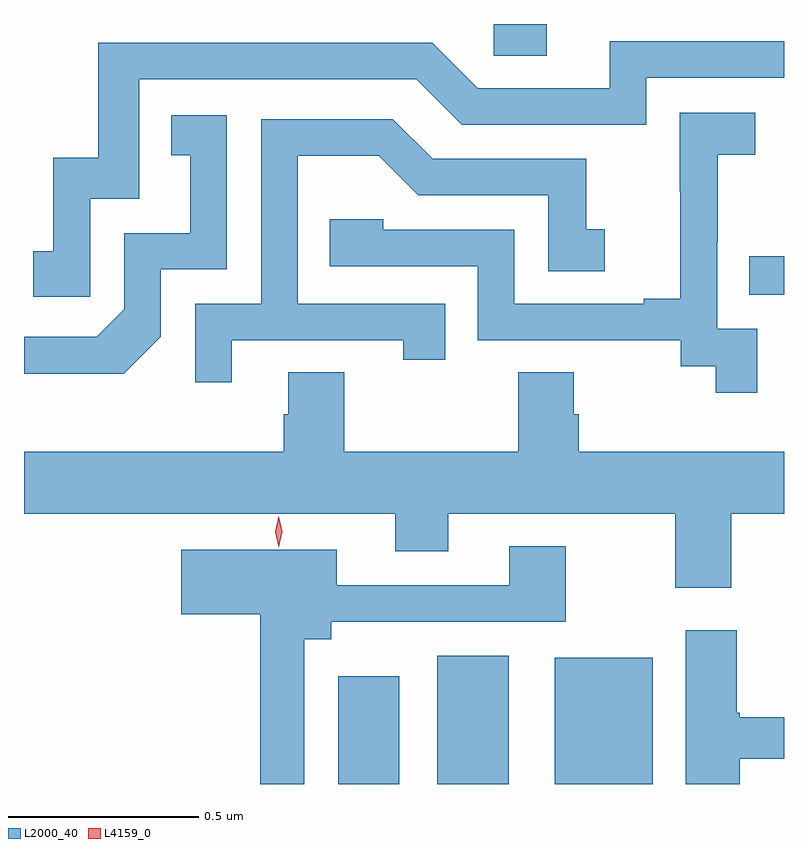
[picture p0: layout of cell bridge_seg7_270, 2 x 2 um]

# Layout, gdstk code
import gdstk
lib = gdstk.Library(unit=1e-6, precision=1e-09)
def R(c, l, rs):  # rectangles x0, y0, x1, y1
    for r in rs: c.add(gdstk.rectangle(r[:2], r[2:], *l))
def P(c, l, *ps):  # polygons
    for p in ps: c.add(gdstk.Polygon(p, *l))
L2000_40 = (2000, 40)
L4159_0 = (4159, 0)

bridge_seg7_270 = lib.new_cell('bridge_seg7_270')
R(bridge_seg7_270, L2000_40, [(199.733,1033.205,199.894,1033.489), (199.994,1033.205,200.182,1033.543), (200.303,1033.205,200.56,1033.537), (200.815,1034.493,200.906,1034.594), (200.142,1035.121,200.281,1035.205)])
P(bridge_seg7_270, L2000_40, [(199.08,1034.745),(199.209,1034.745),(199.209,1035.06),(199.938,1035.06),(200.058,1034.94),(200.544,1034.94),(200.544,1035.063),(200.906,1035.063),(200.906,1035.159),(200.447,1035.159),(200.447,1035.036),(200.1,1035.036),(199.98,1035.156),(199.101,1035.156),(199.101,1034.853),(198.983,1034.853),(198.983,1034.607),(198.93,1034.607),(198.93,1034.487),(199.08,1034.487)],
  [(200.835,1034.403),(200.73,1034.403),(200.73,1034.632),(200.732,1034.632),(200.732,1034.861),(200.83,1034.861),(200.83,1034.971),(200.632,1034.971),(200.632,1034.765),(200.633,1034.765),(200.633,1034.482),(200.537,1034.482),(200.537,1034.469),(200.196,1034.469),(200.196,1034.664),(199.851,1034.664),(199.851,1034.691),(199.711,1034.691),(199.711,1034.568),(200.1,1034.568),(200.1,1034.373),(200.634,1034.373),(200.634,1034.305),(200.727,1034.305),(200.727,1034.235),(200.835,1034.235)],
  [(199.266,1034.382),(199.266,1034.559),(199.44,1034.559),(199.44,1034.965),(199.294,1034.965),(199.294,1034.859),(199.343,1034.859),(199.343,1034.655),(199.17,1034.655),(199.17,1034.454),(199.098,1034.382),(198.906,1034.382),(198.906,1034.285),(199.168,1034.285)],
  [(199.453,1034.373),(199.904,1034.373),(199.904,1034.322),(200.015,1034.322),(200.015,1034.469),(199.626,1034.469),(199.626,1034.858),(199.84,1034.858),(199.944,1034.754),(200.286,1034.754),(200.286,1034.555),(200.434,1034.555),(200.434,1034.665),(200.385,1034.665),(200.385,1034.85),(199.981,1034.85),(199.876,1034.955),(199.53,1034.955),(199.53,1034.469),(199.356,1034.469),(199.356,1034.262),(199.453,1034.262)],
  [(200.767,1033.916),(200.906,1033.916),(200.906,1034.08),(200.366,1034.08),(200.366,1034.178),(200.353,1034.178),(200.353,1034.288),(200.206,1034.288),(200.206,1034.08),(199.749,1034.08),(199.749,1034.288),(199.601,1034.288),(199.601,1034.178),(199.589,1034.178),(199.589,1034.08),(198.906,1034.08),(198.906,1033.916),(199.883,1033.916),(199.883,1033.817),(200.023,1033.817),(200.023,1033.916),(200.62,1033.916),(200.62,1033.722),(200.767,1033.722)],
  [(199.644,1033.586),(199.714,1033.586),(199.714,1033.632),(200.331,1033.632),(200.331,1033.831),(200.183,1033.831),(200.183,1033.728),(199.729,1033.728),(199.729,1033.822),(199.32,1033.822),(199.32,1033.652),(199.528,1033.652),(199.528,1033.205),(199.644,1033.205)],
  [(200.79,1033.272),(200.906,1033.272),(200.906,1033.381),(200.79,1033.381),(200.79,1033.393),(200.782,1033.393),(200.782,1033.609),(200.648,1033.609),(200.648,1033.205),(200.79,1033.205)])
P(bridge_seg7_270, L4159_0, [(199.576,1033.828),(199.576,1033.828),(199.567,1033.869),(199.577,1033.91),(199.577,1033.91),(199.577,1033.91),(199.586,1033.869),(199.576,1033.828)])

lib.write_gds('bridge_seg7_270.gds')
